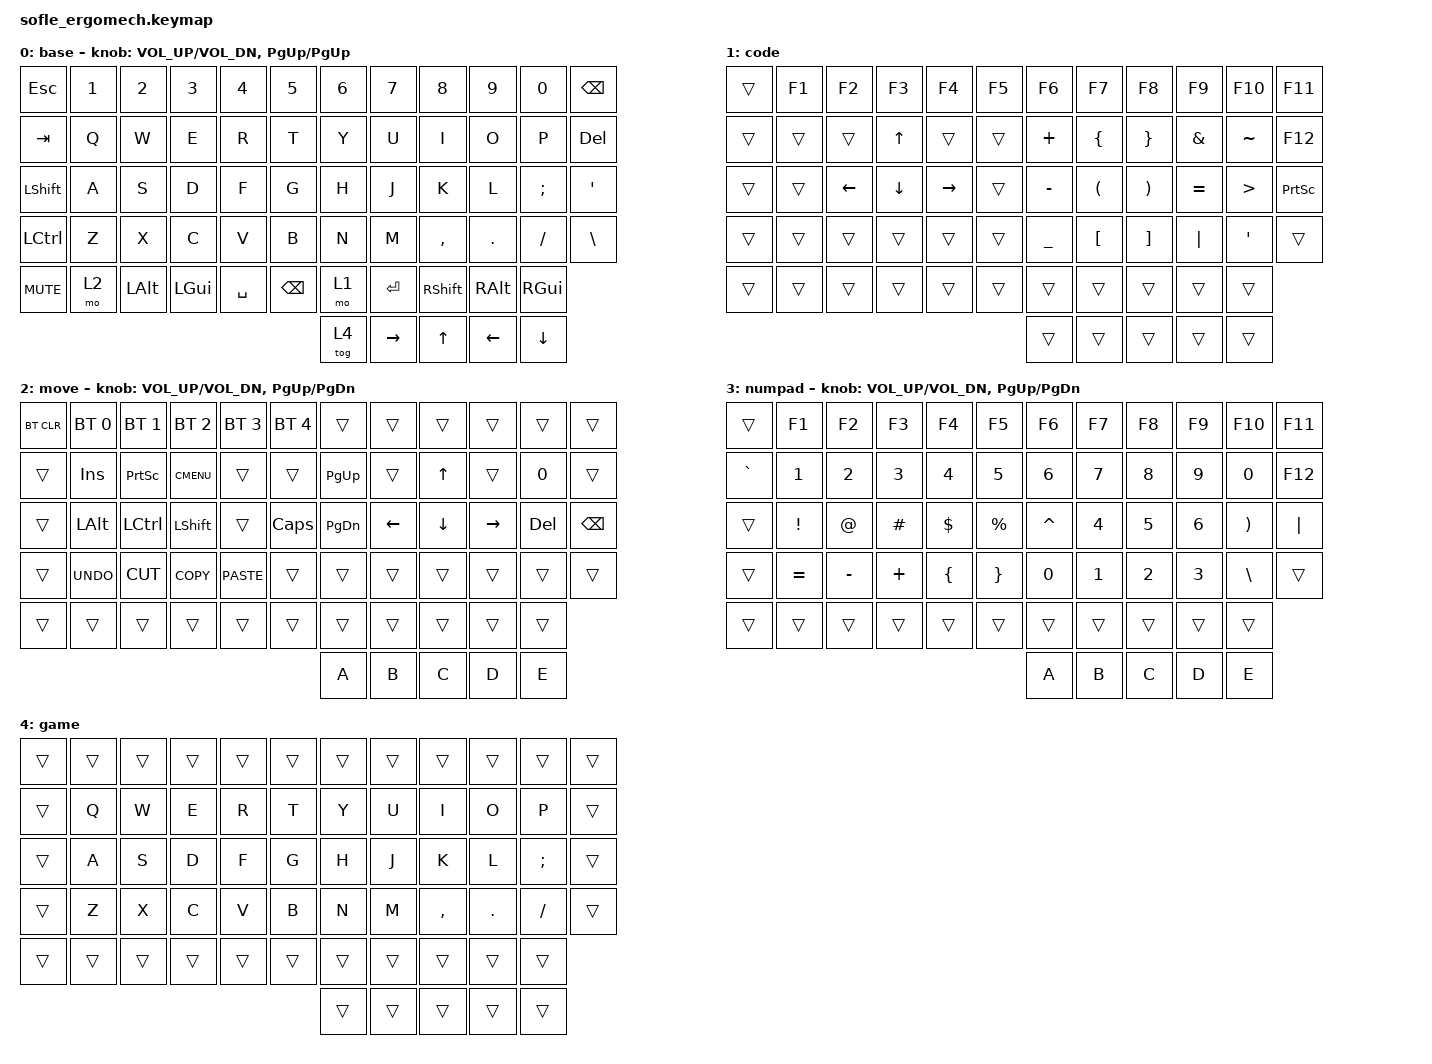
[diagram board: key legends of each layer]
/*
 * Copyright (c) 2020 The ZMK Contributors
 *
 * SPDX-License-Identifier: MIT
 */

#include <behaviors.dtsi>
#include <dt-bindings/zmk/bt.h>
#include <dt-bindings/zmk/keys.h>

#define BASE 0
#define LOWER 1
#define RAISE 2
#define ADJUST 3

/ {
    // Activate ADJUST layer by pressing raise and lower

    conditional_layers { compatible = "zmk,conditional-layers"; };

    behaviors {
        hrm: Home-Row-Mods {
            compatible = "zmk,behavior-hold-tap";
            label = "Home Row Mods";
            bindings = <&mo>, <&kp>;

            #binding-cells = <2>;
            hold-trigger-key-positions = <28 27 26>;
            flavor = "balanced";
            tapping-term-ms = <200>;
            quick-tap-ms = <150>;
            hold-trigger-on-release;
            require-prior-idle-ms = <50>;
            hold-while-undecided;
        };
    };

    combos {
        compatible = "zmk,combos";

        enter {
            bindings = <&kp ENTER>;
            key-positions = <19 20 21>;
        };

        space {
            bindings = <&kp SPACE>;
            key-positions = <31 32 33>;
        };
    };

    keymap {
        compatible = "zmk,keymap";

        Base {
            label = "base";

            // ------------------------------------------------------------------------------------------------------------
            // |   `   |  1  |  2  |  3   |  4   |  5   |                   |  6   |  7    |  8    |  9   |   0   |       |
            // |  ESC  |  Q  |  W  |  E   |  R   |  T   |                   |  Y   |  U    |  I    |  O   |   P   | BKSPC |
            // |  TAB  |  A  |  S  |  D   |  F   |  G   |                   |  H   |  J    |  K    |  L   |   ;   |   '   |
            // | SHIFT |  Z  |  X  |  C   |  V   |  B   |  MUTE  |  |       |  N   |  M    |  ,    |  .   |   /   | SHIFT |
            //               | GUI | ALT  | CTRL | LOWER|  ENTER |  | SPACE | RAISE| CTRL  | ALT   | GUI  |

            bindings = <
&kp ESC         &kp N1  &kp N2        &kp N3        &kp N4     &kp N5         &kp N6  &kp N7     &kp N8           &kp N9         &kp N0         &kp BACKSPACE
&kp TAB         &kp Q   &kp W         &kp E         &kp R      &kp T          &kp Y   &kp U      &kp I            &kp O          &kp P          &kp DELETE
&kp LEFT_SHIFT  &kp A   &kp S         &kp D         &kp F      &kp G          &kp H   &kp J      &kp K            &kp L          &kp SEMI       &kp SQT
&kp LCTRL       &kp Z   &kp X         &kp C         &kp V      &kp B          &kp N   &kp M      &kp COMMA        &kp DOT        &kp FSLH       &kp BACKSLASH
&kp C_MUTE      &mo 2   &kp LEFT_ALT  &kp LEFT_GUI  &kp SPACE  &kp BACKSPACE  &mo 1   &kp ENTER  &kp RIGHT_SHIFT  &kp RIGHT_ALT  &kp RIGHT_GUI
                                                                              &tog 4  &kp RIGHT  &kp UP_ARROW     &kp LEFT       &kp DOWN
            >;

            sensor-bindings =
                <&inc_dec_kp C_VOL_UP C_VOL_DN>,
                <&inc_dec_kp PG_UP PG_UP>;
        };

        Code {
            bindings = <
&trans  &kp F1  &kp F2          &kp F3        &kp F4           &kp F5  &kp F6          &kp F7                &kp F8                 &kp F9         &kp F10           &kp F11
&trans  &trans  &trans          &kp UP_ARROW  &trans           &trans  &kp PLUS        &kp LEFT_BRACE        &kp RIGHT_BRACE        &kp AMPERSAND  &kp TILDE         &kp F12
&trans  &trans  &kp LEFT_ARROW  &kp DOWN      &kp RIGHT_ARROW  &trans  &kp MINUS       &kp LEFT_PARENTHESIS  &kp RIGHT_PARENTHESIS  &kp EQUAL      &kp GREATER_THAN  &kp PRINTSCREEN
&trans  &trans  &trans          &trans        &trans           &trans  &kp UNDERSCORE  &kp LBKT              &kp RBKT               &kp PIPE       &kp APOS          &trans
&trans  &trans  &trans          &trans        &trans           &trans  &trans          &trans                &trans                 &trans         &trans
                                                                       &trans          &trans                &trans                 &trans         &trans
            >;

            label = "code";
        };

        Move {
            label = "move";

            // ------------------------------------------------------------------------------------------------------------
            // | BTCLR | BT1  | BT2  |  BT3  |  BT4  |  BT5 |                |      |      |       |      |       |       |
            // |       | INS  | PSCR | GUI   |       |      |                | PGUP |      |   ^   |      |       |       |
            // |       | ALT  | CTRL | SHIFT |       | CAPS |                | PGDN |   <- |   v   |  ->  |  DEL  | BKSPC |
            // |       | UNDO | CUT  | COPY  | PASTE |      |      |  |      |      |      |       |      |       |       |
            //                |      |       |       |      |      |  |      |      |      |       |      |

            bindings = <
&bt BT_CLR  &bt BT_SEL 0  &bt BT_SEL 1  &bt BT_SEL 2  &bt BT_SEL 3  &bt BT_SEL 4  &trans     &trans    &trans    &trans     &trans   &trans
&trans      &kp INS       &kp PSCRN     &kp K_CMENU   &trans        &trans        &kp PG_UP  &trans    &kp UP    &trans     &kp N0   &trans
&trans      &kp LALT      &kp LCTRL     &kp LSHFT     &trans        &kp CLCK      &kp PG_DN  &kp LEFT  &kp DOWN  &kp RIGHT  &kp DEL  &kp BSPC
&trans      &kp K_UNDO    &kp K_CUT     &kp K_COPY    &kp K_PASTE   &trans        &trans     &trans    &trans    &trans     &trans   &trans
&trans      &trans        &trans        &trans        &trans        &trans        &trans     &trans    &trans    &trans     &trans
                                                                                  &kp A      &kp B     &kp C     &kp D      &kp E
            >;

            sensor-bindings = <&inc_dec_kp C_VOL_UP C_VOL_DN &inc_dec_kp PG_UP PG_DN>;
        };

        Numpad {
            label = "numpad";

            // TODO: Some binds are waiting for shifted keycode support.
            // ------------------------------------------------------------------------------------------------------------
            // |       |  F1 |  F2 |  F3  |  F4  |  F5  |                   |  F6  |  F7   |  F8   |  F9  |  F10  |  F11  |
            // |   `   |  1  |  2  |  3   |  4   |  5   |                   |  6   |  7    |  8    |  9   |   0   |  F12  |
            // |       |  !  |  @  |  #   |  $   |  %   |                   |  ^   |  &    |  *    |  (   |   )   |   |   |
            // |       |  =  |  -  |  +   |  {   |  }   |        |  |       |  [   |  ]    |  ;    |  :   |   \   |       |
            //               |     |      |      |      |        |  |       |      |       |       |      |

            bindings = <
&trans     &kp F1     &kp F2     &kp F3    &kp F4    &kp F5     &kp F6     &kp F7  &kp F8  &kp F9  &kp F10   &kp F11
&kp GRAVE  &kp N1     &kp N2     &kp N3    &kp N4    &kp N5     &kp N6     &kp N7  &kp N8  &kp N9  &kp N0    &kp F12
&trans     &kp EXCL   &kp AT     &kp HASH  &kp DLLR  &kp PRCNT  &kp CARET  &kp N4  &kp N5  &kp N6  &kp RPAR  &kp PIPE
&trans     &kp EQUAL  &kp MINUS  &kp PLUS  &kp LBRC  &kp RBRC   &kp N0     &kp N1  &kp N2  &kp N3  &kp BSLH  &trans
&trans     &trans     &trans     &trans    &trans    &trans     &trans     &trans  &trans  &trans  &trans
                                                                &kp A      &kp B   &kp C   &kp D   &kp E
            >;

            sensor-bindings = <&inc_dec_kp C_VOL_UP C_VOL_DN &inc_dec_kp PG_UP PG_DN>;
        };

        Game {
            bindings = <
&trans  &trans  &trans  &trans  &trans  &trans  &trans  &trans  &trans     &trans   &trans    &trans
&trans  &kp Q   &kp W   &kp E   &kp R   &kp T   &kp Y   &kp U   &kp I      &kp O    &kp P     &trans
&trans  &kp A   &kp S   &kp D   &kp F   &kp G   &kp H   &kp J   &kp K      &kp L    &kp SEMI  &trans
&trans  &kp Z   &kp X   &kp C   &kp V   &kp B   &kp N   &kp M   &kp COMMA  &kp DOT  &kp FSLH  &trans
&trans  &trans  &trans  &trans  &trans  &trans  &trans  &trans  &trans     &trans   &trans
                                                &trans  &trans  &trans     &trans   &trans
            >;

            label = "game";
        };
    };
};
